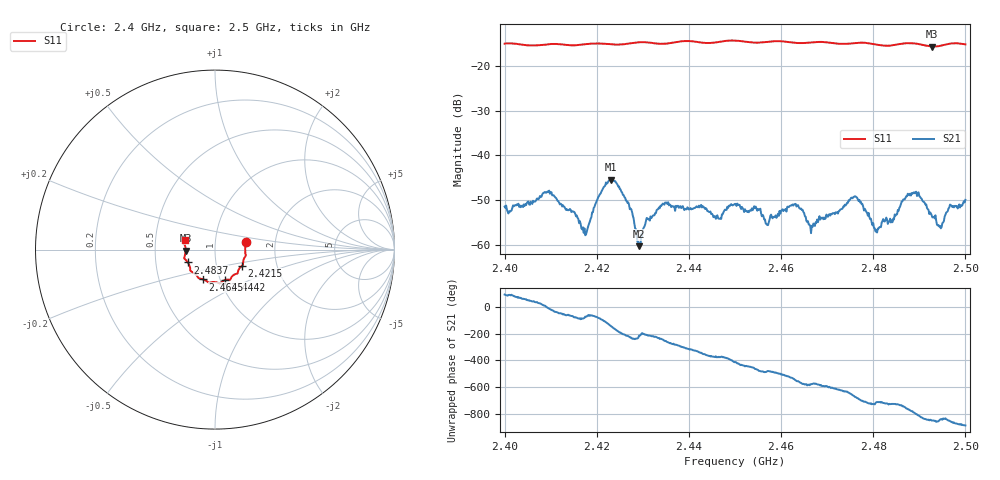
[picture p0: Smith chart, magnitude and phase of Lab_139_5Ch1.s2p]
# Hz S RI R 50
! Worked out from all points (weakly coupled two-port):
!   601 points, 2.4 GHz to 2.5 GHz, reference 50 ohm
!   highest |S21| = -45.39 dB at 2.4232 GHz (marker M1); lowest = -60.2 dB at 2.4292 GHz (marker M2)
!   lowest |S11| = -15.7 dB at 2.4928 GHz (marker M3), VSWR 1.39, Z = 36 - j0.381 ohm
!   |S11| at or under -10 dB: start of sweep to end of sweep
!   S12 and S22 are empty: the file has one direction only
!   S11 on the Smith chart (normalised r, x): 2.4 GHz: 1.41, +0.12; 2.4215 GHz: 1.33, -0.25; 2.4442 GHz: 1.05, -0.37; 2.4645 GHz: 0.83, -0.29; 2.4837 GHz: 0.73, -0.11; 2.5 GHz: 0.71, +0.07
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2.4e9  0.1712 0.0399  -6.16e-05 0.00269  0 0  0 0
2.409667e9  0.1712 -0.0282  0.00394 -0.000919  0 0  0 0
2.416667e9  0.1568 -0.0698  0.00011 -0.00153  0 0  0 0
2.418e9  0.1555 -0.0789  0.000588 -0.00141  0 0  0 0
2.4215e9  0.1512 -0.0899  -0.00121 -0.00426  0 0  0 0
2.423167e9  0.1435 -0.0964  -0.00453 -0.00289  0 0  0 0
2.427167e9  0.1283 -0.122  -0.00174 0.00182  0 0  0 0
2.429167e9  0.1271 -0.1304  -0.000782 0.00058  0 0  0 0
2.433333e9  0.1083 -0.1386  -0.00148 0.00204  0 0  0 0
2.444167e9  0.0566 -0.1696  0.00237 -0.000209  0 0  0 0
2.45e9  0.025 -0.1888  0.0017 -0.00233  0 0  0 0
2.456833e9  -0.0221 -0.1823  -0.000998 -0.0014  0 0  0 0
2.4645e9  -0.0659 -0.166  -0.00207 0.00134  0 0  0 0
2.466667e9  -0.0827 -0.1619  -0.00131 0.000993  0 0  0 0
2.475833e9  -0.1286 -0.1231  0.00209 0.00276  0 0  0 0
2.480667e9  -0.1385 -0.1016  0.00147 0.00016  0 0  0 0
2.483333e9  -0.1491 -0.075  0.00179 -0.000331  0 0  0 0
2.483667e9  -0.1509 -0.0716  0.00195 -0.000249  0 0  0 0
2.488833e9  -0.1713 -0.0453  0.00127 -0.00365  0 0  0 0
2.492833e9  -0.1634 -0.00516  -0.00131 -0.00156  0 0  0 0
2.4945e9  -0.1653 0.0158  -0.000902 -0.00137  0 0  0 0
2.5e9  -0.1651 0.0508  -0.00311 -0.000725  0 0  0 0
